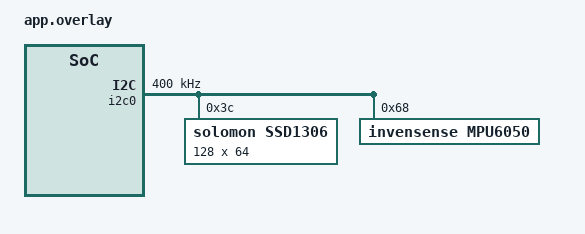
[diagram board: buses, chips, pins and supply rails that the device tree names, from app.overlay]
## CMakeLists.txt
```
cmake_minimum_required(VERSION 3.20.0)
find_package(Zephyr REQUIRED HINTS $ENV{ZEPHYR_BASE})
project(levelindicator)

target_sources(app PRIVATE src/main.c src/font5x7.c)
```

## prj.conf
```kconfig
# Core GPIO & I2C
CONFIG_GPIO=y
CONFIG_I2C=y

# Sensors (MPU-6050 6-Axis IMU)
CONFIG_SENSOR=y
CONFIG_MPU6050=y
CONFIG_MPU6050_TRIGGER_NONE=y

# Display (SSD1306 128x64 OLED)
CONFIG_DISPLAY=y
CONFIG_SSD1306=y

# Serial Console over USB-Serial-JTAG
CONFIG_SERIAL=y
CONFIG_CONSOLE=y
CONFIG_UART_CONSOLE=y

# Floating Point Formatting & Math Library
CONFIG_CBPRINTF_FP_SUPPORT=y
CONFIG_PICOLIBC=y

# Application Stack
CONFIG_MAIN_STACK_SIZE=4096
```

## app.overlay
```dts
/*
 * Devicetree overlay for Seeed Studio XIAO ESP32C6 Level Indicator
 * - SSD1306 128x64 OLED Display (I2C 0x3C)
 * - MPU-6050 6-Axis IMU Sensor (I2C 0x68)
 *
 * Hardware Wiring:
 *   SDA -> XIAO D4 (GPIO 22)
 *   SCL -> XIAO D5 (GPIO 23)
 *   VCC -> 3.3V
 *   GND -> GND
 */

/ {
	chosen {
		zephyr,display = &ssd1306;
	};
};

&i2c0 {
	status = "okay";
	clock-frequency = <I2C_BITRATE_FAST>;

	ssd1306: ssd1306@3c {
		compatible = "solomon,ssd1306";
		reg = <0x3c>;
		width = <128>;
		height = <64>;
		segment-offset = <0>;
		page-offset = <0>;
		display-offset = <0>;
		multiplex-ratio = <63>;
		segment-remap;
		com-invdir;
		prechargep = <0x22>;
	};

	mpu6050: mpu6050@68 {
		compatible = "invensense,mpu6050";
		reg = <0x68>;
		status = "okay";
	};
};
```

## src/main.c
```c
/*
 * Seeed Studio XIAO ESP32C6 - Bulls-Eye Level Indicator with MPU-6050 & SSD1306
 *
 * Requirements:
 * 1. Power-on 5-second automatic zero-offset calibration with on-screen progress.
 * 2. Real-time Bulls-Eye Level Indicator target with concentric rings & crosshairs.
 * 3. Dynamic bubble indicator mapped to calibrated Pitch & Roll angles.
 * 4. Strobe / screen flash when the device is perfectly LEVEL (< 1.0 degree).
 * 5. Telemetry output over native USB-Serial-JTAG (COM port).
 *
 * Hardware Wiring (I2C0):
 *   VCC -> 3.3V
 *   GND -> GND
 *   SDA -> XIAO D4 (GPIO 22)
 *   SCL -> XIAO D5 (GPIO 23)
 */

#include <zephyr/kernel.h>
#include <zephyr/device.h>
#include <zephyr/drivers/gpio.h>
#include <zephyr/drivers/i2c.h>
#include <zephyr/drivers/sensor.h>
#include <zephyr/drivers/display.h>
#include <zephyr/sys/printk.h>
#include <stdio.h>
#include <string.h>
#include <math.h>

#include "font5x7.h"

#define SCREEN_WIDTH   128
#define SCREEN_HEIGHT  64
#define FB_SIZE        ((SCREEN_WIDTH * SCREEN_HEIGHT) / 8)

#define LEVEL_THRESHOLD_DEG  1.0f
#define CALIBRATION_TIME_MS  5000

/* Display framebuffer in SSD1306 vertical page format */
static uint8_t fb[FB_SIZE];

/* Devices */
static const struct device *display_dev = DEVICE_DT_GET(DT_CHOSEN(zephyr_display));
static const struct device *mpu_dev = DEVICE_DT_GET(DT_NODELABEL(mpu6050));
static const struct gpio_dt_spec led = GPIO_DT_SPEC_GET(DT_ALIAS(led0), gpios);

/* Calibration offsets */
static double bias_accel_x = 0.0;
static double bias_accel_y = 0.0;

/* --- Framebuffer Graphics Primitives --- */

static void fb_clear(void)
{
    memset(fb, 0, sizeof(fb));
}

static void fb_invert(void)
{
    for (size_t i = 0; i < sizeof(fb); i++) {
        fb[i] = ~fb[i];
    }
}

static void fb_draw_pixel(int x, int y, uint8_t color)
{
    if (x >= 0 && x < SCREEN_WIDTH && y >= 0 && y < SCREEN_HEIGHT) {
        if (color) {
            fb[x + (y / 8) * SCREEN_WIDTH] |= (1 << (y % 8));
        } else {
            fb[x + (y / 8) * SCREEN_WIDTH] &= ~(1 << (y % 8));
        }
    }
}

static void fb_draw_line(int x0, int y0, int x1, int y1, uint8_t color)
{
    int dx = abs(x1 - x0), sx = x0 < x1 ? 1 : -1;
    int dy = -abs(y1 - y0), sy = y0 < y1 ? 1 : -1;
    int err = dx + dy, e2;

    while (1) {
        fb_draw_pixel(x0, y0, color);
        if (x0 == x1 && y0 == y1) break;
        e2 = 2 * err;
        if (e2 >= dy) { err += dy; x0 += sx; }
        if (e2 <= dx) { err += dx; y0 += sy; }
    }
}

static void fb_draw_circle(int xc, int yc, int r, uint8_t color)
{
    int x = 0, y = r;
    int d = 3 - 2 * r;

    while (y >= x) {
        fb_draw_pixel(xc + x, yc + y, color);
        fb_draw_pixel(xc - x, yc + y, color);
        fb_draw_pixel(xc + x, yc - y, color);
        fb_draw_pixel(xc - x, yc - y, color);
        fb_draw_pixel(xc + y, yc + x, color);
        fb_draw_pixel(xc - y, yc + x, color);
        fb_draw_pixel(xc + y, yc - x, color);
        fb_draw_pixel(xc - y, yc - x, color);

        if (d < 0) {
            d = d + 4 * x + 6;
        } else {
            d = d + 4 * (x - y) + 10;
            y--;
        }
        x++;
    }
}

static void fb_fill_circle(int xc, int yc, int r, uint8_t color)
{
    for (int y = -r; y <= r; y++) {
        for (int x = -r; x <= r; x++) {
            if (x * x + y * y <= r * r) {
                fb_draw_pixel(xc + x, yc + y, color);
            }
        }
    }
}

static void fb_draw_rect(int x, int y, int w, int h, uint8_t color)
{
    fb_draw_line(x, y, x + w - 1, y, color);
    fb_draw_line(x, y + h - 1, x + w - 1, y + h - 1, color);
    fb_draw_line(x, y, x, y + h - 1, color);
    fb_draw_line(x + w - 1, y, x + w - 1, y + h - 1, color);
}

static void fb_fill_rect(int x, int y, int w, int h, uint8_t color)
{
    for (int i = 0; i < h; i++) {
        fb_draw_line(x, y + i, x + w - 1, y + i, color);
    }
}

static void fb_draw_char(int x, int y, char c, uint8_t color)
{
    const uint8_t *glyph = font5x7_get_char(c);
    for (int col = 0; col < FONT5X7_WIDTH; col++) {
        uint8_t line = glyph[col];
        for (int row = 0; row < FONT5X7_HEIGHT; row++) {
            if (line & (1 << row)) {
                fb_draw_pixel(x + col, y + row, color);
            }
        }
    }
}

static void fb_draw_string(int x, int y, const char *str, uint8_t color)
{
    while (*str) {
        fb_draw_char(x, y, *str, color);
        x += FONT5X7_WIDTH + 1;
        str++;
    }
}

static void fb_flush(const struct device *dev)
{
    struct display_buffer_descriptor desc = {
        .buf_size = sizeof(fb),
        .width = SCREEN_WIDTH,
        .height = SCREEN_HEIGHT,
        .pitch = SCREEN_WIDTH,
    };
    display_write(dev, 0, 0, &desc, fb);
}

/* --- Sensor Reading & Calibration --- */

static int read_mpu6050_raw(double *ax, double *ay, double *az)
{
    struct sensor_value accel[3];
    int rc = sensor_sample_fetch(mpu_dev);
    if (rc != 0) {
        return rc;
    }

    rc = sensor_channel_get(mpu_dev, SENSOR_CHAN_ACCEL_XYZ, accel);
    if (rc != 0) {
        return rc;
    }

    *ax = sensor_value_to_double(&accel[0]);
    *ay = sensor_value_to_double(&accel[1]);
    *az = sensor_value_to_double(&accel[2]);
    return 0;
}

static void run_5sec_calibration(void)
{
    printk(">>> Starting 5-Second IMU Calibration...\n");
    int64_t start_time = k_uptime_get();
    int samples = 0;
    double sum_ax = 0.0, sum_ay = 0.0;

    while (1) {
        int64_t elapsed = k_uptime_get() - start_time;
        if (elapsed >= CALIBRATION_TIME_MS) {
            break;
        }

        double ax = 0.0, ay = 0.0, az = 0.0;
        if (read_mpu6050_raw(&ax, &ay, &az) == 0) {
            sum_ax += ax;
            sum_ay += ay;
            samples++;
        }

        /* Render on-screen calibration progress */
        fb_clear();
        fb_draw_string(20, 8, "CALIBRATING IMU", 1);
        fb_draw_string(14, 20, "Keep Device Level", 1);

        /* Progress Bar (outline + fill) */
        int bar_w = 90;
        int bar_h = 8;
        int bar_x = 19;
        int bar_y = 34;
        fb_draw_rect(bar_x, bar_y, bar_w, bar_h, 1);
        int fill_w = (int)((elapsed * (bar_w - 4)) / CALIBRATION_TIME_MS);
        if (fill_w > 0) {
            fb_fill_rect(bar_x + 2, bar_y + 2, fill_w, bar_h - 4, 1);
        }

        /* Countdown display */
        char countdown_str[32];
        double rem_sec = (CALIBRATION_TIME_MS - elapsed) / 1000.0;
        snprintf(countdown_str, sizeof(countdown_str), "Ready in: %.1fs", rem_sec);
        fb_draw_string(22, 48, countdown_str, 1);

        fb_flush(display_dev);
        k_msleep(50);
    }

    if (samples > 0) {
        bias_accel_x = sum_ax / samples;
        bias_accel_y = sum_ay / samples;
    }

    printk(">>> Calibration Complete (%d samples). Bias X: %.4f, Bias Y: %.4f\n",
           samples, bias_accel_x, bias_accel_y);

    /* Brief completion screen */
    fb_clear();
    fb_draw_string(16, 20, "CALIBRATION DONE!", 1);
    fb_draw_string(22, 36, "Starting Level...", 1);
    fb_flush(display_dev);
    k_msleep(750);
}

/* --- Main Application --- */

int main(void)
{
    printk("\n==================================================\n");
    printk("  Seeed XIAO ESP32C6 Bulls-Eye Level Indicator   \n");
    printk("==================================================\n");

    /* Initialize LED */
    if (gpio_is_ready_dt(&led)) {
        gpio_pin_configure_dt(&led, GPIO_OUTPUT_INACTIVE);
    }

    /* Initialize Display */
    if (!device_is_ready(display_dev)) {
        printk("FATAL: Display device not ready!\n");
        return 0;
    }
    display_blanking_off(display_dev);
    fb_clear();
    fb_draw_string(24, 26, "XIAO ESP32-C6", 1);
    fb_draw_string(18, 38, "LEVEL INDICATOR", 1);
    fb_flush(display_dev);
    k_msleep(1000);

    /* Initialize MPU-6050 */
    if (!device_is_ready(mpu_dev)) {
        printk("FATAL: MPU6050 sensor device not ready!\n");
        fb_clear();
        fb_draw_string(14, 24, "ERROR: MPU6050", 1);
        fb_draw_string(14, 36, "Check I2C Wiring", 1);
        fb_flush(display_dev);
        return 0;
    }
    printk("MPU-6050 sensor ready at I2C address 0x68.\n");

    /* Run 5-second automatic zero calibration */
    run_5sec_calibration();

    /* Filtered angle variables */
    double smooth_roll = 0.0;
    double smooth_pitch = 0.0;
    const double alpha = 0.30; /* Smoothing filter weight */

    bool flash_state = false;
    int64_t last_flash_toggle = 0;
    int64_t last_log_time = 0;

    const int target_cx = 64;
    const int target_cy = 32;

    while (1) {
        double raw_ax = 0.0, raw_ay = 0.0, raw_az = 0.0;
        if (read_mpu6050_raw(&raw_ax, &raw_ay, &raw_az) == 0) {
            /* Zero-offset calibration adjustment */
            double ax = raw_ax - bias_accel_x;
            double ay = raw_ay - bias_accel_y;
            double az = raw_az;

            /* Compute Pitch and Roll angles in degrees */
            double roll_rad = atan2(ay, az);
            double pitch_rad = atan2(-ax, sqrt(ay * ay + az * az));

            double roll_deg = roll_rad * (180.0 / 3.141592653589793);
            double pitch_deg = pitch_rad * (180.0 / 3.141592653589793);

            /* Exponential smoothing */
            smooth_roll = alpha * roll_deg + (1.0 - alpha) * smooth_roll;
            smooth_pitch = alpha * pitch_deg + (1.0 - alpha) * smooth_pitch;
        }

        /* Check level condition (< 1.0 degree in both axes) */
        bool is_level = (fabs(smooth_roll) < LEVEL_THRESHOLD_DEG) &&
                        (fabs(smooth_pitch) < LEVEL_THRESHOLD_DEG);

        fb_clear();

        /* 1. Draw Bulls-Eye Target Concentric Rings */
        fb_draw_circle(target_cx, target_cy, 24, 1); /* Outer ring (~10 deg) */
        fb_draw_circle(target_cx, target_cy, 14, 1); /* Middle ring (~5 deg) */
        fb_draw_circle(target_cx, target_cy, 5, 1);  /* Bullseye center ring (<1 deg) */

        /* 2. Draw Crosshairs */
        fb_draw_line(target_cx - 28, target_cy, target_cx - 7, target_cy, 1);
        fb_draw_line(target_cx + 7, target_cy, target_cx + 28, target_cy, 1);
        fb_draw_line(target_cx, target_cy - 28, target_cx, target_cy - 7, 1);
        fb_draw_line(target_cx, target_cy + 7, target_cx, target_cy + 28, 1);

        /* 3. Compute dynamic bubble position (2.2 pixels per degree) */
        double px_per_deg = 2.2;
        int bubble_x = target_cx + (int)round(smooth_roll * px_per_deg);
        int bubble_y = target_cy - (int)round(smooth_pitch * px_per_deg);

        /* Clamp bubble inside display bounds */
        if (bubble_x < 6) bubble_x = 6;
        if (bubble_x > 121) bubble_x = 121;
        if (bubble_y < 6) bubble_y = 6;
        if (bubble_y > 57) bubble_y = 57;

        /* Draw filled bubble */
        fb_fill_circle(bubble_x, bubble_y, 3, 1);

        /* 4. Draw Angle Text Readouts */
        char roll_buf[16];
        char pitch_buf[16];
        snprintf(roll_buf, sizeof(roll_buf), "R:%+.1f~", smooth_roll);
        snprintf(pitch_buf, sizeof(pitch_buf), "P:%+.1f~", smooth_pitch);

        fb_draw_string(2, 2, roll_buf, 1);
        fb_draw_string(2, 54, pitch_buf, 1);

        /* 5. Level Status & Screen Flash Effect */
        int64_t now = k_uptime_get();
        if (is_level) {
            /* Level message */
            fb_draw_string(76, 54, "*LEVEL*", 1);

            /* Strobe/Flash display every 150 ms */
            if (now - last_flash_toggle >= 150) {
                flash_state = !flash_state;
                last_flash_toggle = now;
            }

            if (flash_state) {
                fb_invert(); /* Invert screen colors for prominent visual flash */
                if (led.port) {
                    gpio_pin_set_dt(&led, 1); /* Active-Low LED ON */
                }
            } else {
                if (led.port) {
                    gpio_pin_set_dt(&led, 0); /* Active-Low LED OFF */
                }
            }
        } else {
            /* Not level - regular display, LED off */
            flash_state = false;
            if (led.port) {
                gpio_pin_set_dt(&led, 0);
            }
        }

        /* 6. Push buffer to OLED */
        fb_flush(display_dev);

        /* 7. Periodic Telemetry Log over USB Console (every 500 ms) */
        if (now - last_log_time >= 500) {
            last_log_time = now;
            printk("[%s] Roll: %+.2f deg | Pitch: %+.2f deg | Bubble: (%d, %d)\n",
                   is_level ? "LEVEL" : "TILT ",
                   smooth_roll, smooth_pitch, bubble_x, bubble_y);
        }

        k_msleep(40); /* ~25 FPS update rate */
    }

    return 0;
}
```

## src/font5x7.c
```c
#include "font5x7.h"

/* Standard 5x7 ASCII Font Table (ASCII 32 to 126) */
static const uint8_t font5x7_data[][5] = {
    {0x00, 0x00, 0x00, 0x00, 0x00}, /*   32 */
    {0x00, 0x00, 0x5F, 0x00, 0x00}, /* ! 33 */
    {0x00, 0x07, 0x00, 0x07, 0x00}, /* " 34 */
    {0x14, 0x7F, 0x14, 0x7F, 0x14}, /* # 35 */
    {0x24, 0x2A, 0x7F, 0x2A, 0x12}, /* $ 36 */
    {0x23, 0x13, 0x08, 0x64, 0x62}, /* % 37 */
    {0x36, 0x49, 0x55, 0x22, 0x50}, /* & 38 */
    {0x00, 0x05, 0x03, 0x00, 0x00}, /* ' 39 */
    {0x00, 0x1C, 0x22, 0x41, 0x00}, /* ( 40 */
    {0x00, 0x41, 0x22, 0x1C, 0x00}, /* ) 41 */
    {0x14, 0x08, 0x3E, 0x08, 0x14}, /* * 42 */
    {0x08, 0x08, 0x3E, 0x08, 0x08}, /* + 43 */
    {0x00, 0x50, 0x30, 0x00, 0x00}, /* , 44 */
    {0x08, 0x08, 0x08, 0x08, 0x08}, /* - 45 */
    {0x00, 0x60, 0x60, 0x00, 0x00}, /* . 46 */
    {0x20, 0x10, 0x08, 0x04, 0x02}, /* / 47 */
    {0x3E, 0x51, 0x49, 0x45, 0x3E}, /* 0 48 */
    {0x00, 0x42, 0x7F, 0x40, 0x00}, /* 1 49 */
    {0x42, 0x61, 0x51, 0x49, 0x46}, /* 2 50 */
    {0x21, 0x41, 0x45, 0x4B, 0x31}, /* 3 51 */
    {0x18, 0x14, 0x12, 0x7F, 0x10}, /* 4 52 */
    {0x27, 0x45, 0x45, 0x45, 0x39}, /* 5 53 */
    {0x3C, 0x4A, 0x49, 0x49, 0x30}, /* 6 54 */
    {0x01, 0x71, 0x09, 0x05, 0x03}, /* 7 55 */
    {0x36, 0x49, 0x49, 0x49, 0x36}, /* 8 56 */
    {0x06, 0x49, 0x49, 0x29, 0x1E}, /* 9 57 */
    {0x00, 0x36, 0x36, 0x00, 0x00}, /* : 58 */
    {0x00, 0x56, 0x36, 0x00, 0x00}, /* ; 59 */
    {0x08, 0x14, 0x22, 0x41, 0x00}, /* < 60 */
    {0x14, 0x14, 0x14, 0x14, 0x14}, /* = 61 */
    {0x00, 0x41, 0x22, 0x14, 0x08}, /* > 62 */
    {0x02, 0x01, 0x51, 0x09, 0x06}, /* ? 63 */
    {0x32, 0x49, 0x79, 0x41, 0x3E}, /* @ 64 */
    {0x7E, 0x11, 0x11, 0x11, 0x7E}, /* A 65 */
    {0x7F, 0x49, 0x49, 0x49, 0x36}, /* B 66 */
    {0x3E, 0x41, 0x41, 0x41, 0x22}, /* C 67 */
    {0x7F, 0x41, 0x41, 0x22, 0x1C}, /* D 68 */
    {0x7F, 0x49, 0x49, 0x49, 0x41}, /* E 69 */
    {0x7F, 0x09, 0x09, 0x09, 0x01}, /* F 70 */
    {0x3E, 0x41, 0x49, 0x49, 0x7A}, /* G 71 */
    {0x7F, 0x08, 0x08, 0x08, 0x7F}, /* H 72 */
    {0x00, 0x41, 0x7F, 0x41, 0x00}, /* I 73 */
    {0x20, 0x40, 0x41, 0x3F, 0x01}, /* J 74 */
    {0x7F, 0x08, 0x14, 0x22, 0x41}, /* K 75 */
    {0x7F, 0x40, 0x40, 0x40, 0x40}, /* L 76 */
    {0x7F, 0x02, 0x0C, 0x02, 0x7F}, /* M 77 */
    {0x7F, 0x04, 0x08, 0x10, 0x7F}, /* N 78 */
    {0x3E, 0x41, 0x41, 0x41, 0x3E}, /* O 79 */
    {0x7F, 0x09, 0x09, 0x09, 0x06}, /* P 80 */
    {0x3E, 0x41, 0x51, 0x21, 0x5E}, /* Q 81 */
    {0x7F, 0x09, 0x19, 0x29, 0x46}, /* R 82 */
    {0x46, 0x49, 0x49, 0x49, 0x31}, /* S 83 */
    {0x01, 0x01, 0x7F, 0x01, 0x01}, /* T 84 */
    {0x3F, 0x40, 0x40, 0x40, 0x3F}, /* U 85 */
    {0x1F, 0x20, 0x40, 0x20, 0x1F}, /* V 86 */
    {0x3F, 0x40, 0x38, 0x40, 0x3F}, /* W 87 */
    {0x63, 0x14, 0x08, 0x14, 0x63}, /* X 88 */
    {0x07, 0x08, 0x70, 0x08, 0x07}, /* Y 89 */
    {0x61, 0x51, 0x49, 0x45, 0x43}, /* Z 90 */
    {0x00, 0x7F, 0x41, 0x41, 0x00}, /* [ 91 */
    {0x02, 0x04, 0x08, 0x10, 0x20}, /* \ 92 */
    {0x00, 0x41, 0x41, 0x7F, 0x00}, /* ] 93 */
    {0x04, 0x02, 0x01, 0x02, 0x04}, /* ^ 94 */
    {0x40, 0x40, 0x40, 0x40, 0x40}, /* _ 95 */
    {0x00, 0x01, 0x02, 0x04, 0x00}, /* ` 96 */
    {0x20, 0x54, 0x54, 0x54, 0x78}, /* a 97 */
    {0x7F, 0x48, 0x44, 0x44, 0x38}, /* b 98 */
    {0x38, 0x44, 0x44, 0x44, 0x20}, /* c 99 */
    {0x38, 0x44, 0x44, 0x48, 0x7F}, /* d 100 */
    {0x38, 0x54, 0x54, 0x54, 0x18}, /* e 101 */
    {0x08, 0x7E, 0x09, 0x01, 0x02}, /* f 102 */
    {0x0C, 0x52, 0x52, 0x52, 0x3E}, /* g 103 */
    {0x7F, 0x08, 0x04, 0x04, 0x78}, /* h 104 */
    {0x00, 0x44, 0x7D, 0x40, 0x00}, /* i 105 */
    {0x20, 0x40, 0x44, 0x3D, 0x00}, /* j 106 */
    {0x7F, 0x10, 0x28, 0x44, 0x00}, /* k 107 */
    {0x00, 0x41, 0x7F, 0x40, 0x00}, /* l 108 */
    {0x7C, 0x04, 0x18, 0x04, 0x78}, /* m 109 */
    {0x7C, 0x08, 0x04, 0x04, 0x78}, /* n 110 */
    {0x38, 0x44, 0x44, 0x44, 0x38}, /* o 111 */
    {0x7C, 0x14, 0x14, 0x14, 0x08}, /* p 112 */
    {0x08, 0x14, 0x14, 0x18, 0x7C}, /* q 113 */
    {0x7C, 0x08, 0x04, 0x04, 0x08}, /* r 114 */
    {0x48, 0x54, 0x54, 0x54, 0x20}, /* s 115 */
    {0x04, 0x3F, 0x44, 0x40, 0x20}, /* t 116 */
    {0x3C, 0x40, 0x40, 0x20, 0x7C}, /* u 117 */
    {0x1C, 0x20, 0x40, 0x20, 0x1C}, /* v 118 */
    {0x3C, 0x40, 0x30, 0x40, 0x3C}, /* w 119 */
    {0x44, 0x28, 0x10, 0x28, 0x44}, /* x 120 */
    {0x0C, 0x50, 0x50, 0x50, 0x3C}, /* y 121 */
    {0x44, 0x64, 0x54, 0x4C, 0x44}, /* z 122 */
    {0x00, 0x08, 0x36, 0x41, 0x00}, /* { 123 */
    {0x00, 0x00, 0x7F, 0x00, 0x00}, /* | 124 */
    {0x00, 0x41, 0x36, 0x08, 0x00}, /* } 125 */
    {0x08, 0x04, 0x08, 0x10, 0x08}, /* ~ 126 */
};

static const uint8_t font5x7_degree[5] = {0x00, 0x06, 0x09, 0x09, 0x06}; /* ° */

const uint8_t *font5x7_get_char(char c)
{
    if ((uint8_t)c == 0xB0 || c == '~') { /* Degree symbol or tilde */
        return font5x7_degree;
    }
    if (c >= 32 && c <= 126) {
        return font5x7_data[c - 32];
    }
    return font5x7_data[0]; /* Space for unknown chars */
}
```

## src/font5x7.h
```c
#ifndef FONT5X7_H_
#define FONT5X7_H_

#include <stdint.h>

#define FONT5X7_WIDTH   5
#define FONT5X7_HEIGHT  7

/* Returns a pointer to 5 bytes representing the 5 columns of the character */
const uint8_t *font5x7_get_char(char c);

#endif /* FONT5X7_H_ */
```
